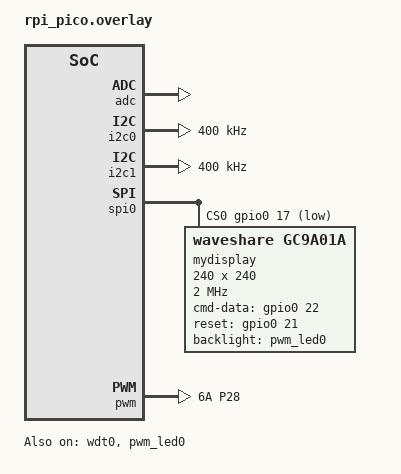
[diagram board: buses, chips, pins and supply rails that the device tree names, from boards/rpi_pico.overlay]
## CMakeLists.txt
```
# Copyright (c) 2021 Nordic Semiconductor ASA
# SPDX-License-Identifier: Apache-2.0

cmake_minimum_required(VERSION 3.20)

find_package(Zephyr REQUIRED HINTS $ENV{ZEPHYR_BASE})

project(app LANGUAGES C)

target_sources(app PRIVATE src/main.c)
```

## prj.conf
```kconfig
CONFIG_PRINTK=y
CONFIG_PWM=y
CONFIG_LOG=y
CONFIG_PWM_LOG_LEVEL_DBG=y

CONFIG_SPI=y
CONFIG_DISPLAY=y
CONFIG_DISPLAY_INIT_PRIORITY=85
CONFIG_PWM_RPI_PICO=y

CONFIG_HEAP_MEM_POOL_SIZE=16384
```

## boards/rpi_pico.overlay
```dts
#include <zephyr/dt-bindings/display/gc9a01a.h>

/ {	chosen{
		zephyr,display=&mydisplay;
	};
};


/* Pin control section */
&pinctrl {
	// I2C1 pinmux
	// SDA -> GPIO2
	// SCL -> GPIO3
	i2c1_alt: i2c1_alt {
		group1 {
			pinmux = <I2C1_SDA_P2>, <I2C1_SCL_P3>;
			input-enable;
			input-schmitt-enable;
		};
	};

	// SPI1 pinmux
	// RX  -> GPIO12
	// TX  -> GPIO15
	// CSn -> GPIO13 
	// SCK -> GPIO14
	/* spi1_alt: spi1_alt{
		group1 {
			pinmux = <SPI1_CSN_P13>, <SPI1_SCK_P14>, <SPI1_TX_P15>;
		};
		group2 {
			pinmux = <SPI1_RX_P12>;
			input-enable;
		};

	};*/

	// PWM for LCD backlight control.
	// GPIO 28 -> Slice 6 channel A (refer RP2040 datasheet).
	pwm_ch6a_lcd_display: pwm_ch6a_lcd_display {
		group1 {
			pinmux = <PWM_6A_P28>;
		};
	};
};

/* Enable the watchdog */
&wdt0 {
	status = "okay";
};

/* Disabling unused ADC. */
&adc {
	status="okay";
};

/* Setting clock frequency to FAST. */
&i2c0 {
	clock-frequency= <I2C_BITRATE_FAST>;
};

// Setting the alternative pin mapping for I2C1.
&i2c1{
	pinctrl-0=<&i2c1_alt>;
	clock-frequency = < I2C_BITRATE_FAST >;
};

/* Setting the GPIO17 as the CS pin on SPI - for the LCD display. */
&spi0 {
	cs-gpios = <&gpio0 17 GPIO_ACTIVE_LOW>;
	status = "okay";

	mydisplay: mydisplay@0 {
		compatible = "waveshare,gc9a01a";
		spi-max-frequency = <2000000>;
		reg = <0>;
		cmd-data-gpios = <&gpio0 22  GPIO_ACTIVE_HIGH>; 
		reset-gpios = <&gpio0 21 GPIO_ACTIVE_HIGH>;
		backlight-gpios = <&pwm_led0>;
		width = <240>;
		height = <240>;
		pixel-format = <GC9A01A_PIXEL_FORMAT_RGB565>;
		display-inversion;
		rotation = <180>;
		status = "okay";
	};
};


/* Setting the PWM. 
Challenging but easy once you understand.
Open and refer RP2040_pwm_pins.jpg or pg523 of the RP2040 datasheet, Table 278.
Step 1 : Create a pinctrl entry under &pinctrl.
Step 2 : Update the &pwm entry node.
Step 3 : Update the &pwm_led0 node.

Consider using GPIO 28 for PWM.
* Make a &pinctrl entry as seen in line 59-63 of this overlay file.
Note that it uses pinmux=<PWM_6A_28>. From the image we can see that
GPIO20 uses PWM channel 2A. (slice -> 2)

* Next, under &pwm node edit the pinctrl-0 to refer to the entry made 
in the previous step. The divider-frac-N and divider-int-N (change N 
to the value of slice)

* Finally under &pwm_led0 node edit the entry pwms. Each PWM channel is 
mapped to 2 GPIOS. GPIO 28 and GPIO 12 are mapped to PWM channel 6A(refer image).
so the corresponding entry should be

pwms=<&pwm channel frequency flags> => pwms=<&pwm 12 PWM_MSEC(20) PWM_NORMAL_POLARITY> 
where, 'channel' is (GPIO number) modulo 16.

Files to look out for when developing the rpi_pico.overlay file.

1. /zephyrproject/zephyr/include/zephyr/dt-bindings/pinctrl/rpi-pico-rp2040-pinctrl.h
2. /zephyrproject/zephyr/dts/arm/rpi_pico/rp2040.dtsi
3. /zephyrproject/zephyr/dts/arm/rpi_pico/rpi_pico_common.dtsi
4. /zephyrproject/zephyr/boards/arm/rpi_pico/rpi_pico-pinctrl.dtsi
5. /zephyrproject/zephyr/boards/arm/rpi_pico/rpi_pico.dts

*/

// &pwm {
// 	status = "okay";
// 	pinctrl-0 = <&pwm_ch4b_default>;
// 	divider-frac-4 = <255>;
// 	divider-int-4 = <255>;
// };

&pwm {
	status = "okay";
	pinctrl-0 = <&pwm_ch6a_lcd_display>;
	divider-frac-6 = <15>;
	divider-int-6 = <255>;
};

&pwm_led0 {
	status = "okay";
	pwms = <&pwm 12 PWM_MSEC(20) PWM_POLARITY_NORMAL>;
};

/* The final zephyr.dts device tree file can be found after compiling in
/build/zephyr/zephyr.dts */
```

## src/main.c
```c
/*
 * Copyright (c) 2019 Jan Van Winkel <jan.van_winkel@dxplore.eu>
 *
 * Based on ST7789V sample:
 * Copyright (c) 2019 Marc Reilly
 *
 * SPDX-License-Identifier: Apache-2.0
 */

#include <zephyr/logging/log.h>
LOG_MODULE_REGISTER(sample, LOG_LEVEL_INF);

#include <zephyr/kernel.h>
#include <zephyr/device.h>
#include <zephyr/drivers/display.h>

#include <hardware/watchdog.h>



#ifdef CONFIG_ARCH_POSIX
#include "posix_board_if.h"
#endif

#ifdef CONFIG_ARCH_POSIX
#define RETURN_FROM_MAIN(exit_code) posix_exit_main(exit_code)
#else
#define RETURN_FROM_MAIN(exit_code) return
#endif

enum corner {
	TOP_LEFT,
	TOP_RIGHT,
	BOTTOM_RIGHT,
	BOTTOM_LEFT
};

typedef void (*fill_buffer)(enum corner corner, uint8_t grey, uint8_t *buf,
			    size_t buf_size);


#ifdef CONFIG_ARCH_POSIX
static void posix_exit_main(int exit_code)
{
#if CONFIG_TEST
	if (exit_code == 0) {
		LOG_INF("PROJECT EXECUTION SUCCESSFUL");
	} else {
		LOG_INF("PROJECT EXECUTION FAILED");
	}
#endif
	posix_exit(exit_code);
}
#endif

static void fill_buffer_argb8888(enum corner corner, uint8_t grey, uint8_t *buf,
				 size_t buf_size)
{
	uint32_t color = 0;

	switch (corner) {
	case TOP_LEFT:
		color = 0x00FF0000u;
		break;
	case TOP_RIGHT:
		color = 0x0000FF00u;
		break;
	case BOTTOM_RIGHT:
		color = 0x000000FFu;
		break;
	case BOTTOM_LEFT:
		color = grey << 16 | grey << 8 | grey;
		break;
	}

	for (size_t idx = 0; idx < buf_size; idx += 4) {
		*((uint32_t *)(buf + idx)) = color;
	}
}

static void fill_buffer_rgb888(enum corner corner, uint8_t grey, uint8_t *buf,
			       size_t buf_size)
{
	uint32_t color = 0;

	switch (corner) {
	case TOP_LEFT:
		color = 0x00FF0000u;
		break;
	case TOP_RIGHT:
		color = 0x0000FF00u;
		break;
	case BOTTOM_RIGHT:
		color = 0x000000FFu;
		break;
	case BOTTOM_LEFT:
		color = grey << 16 | grey << 8 | grey;
		break;
	}

	for (size_t idx = 0; idx < buf_size; idx += 3) {
		*(buf + idx + 0) = color >> 16;
		*(buf + idx + 1) = color >> 8;
		*(buf + idx + 2) = color >> 0;
	}
}

static uint16_t get_rgb565_color(enum corner corner, uint8_t grey)
{
	uint16_t color = 0;
	uint16_t grey_5bit;

	switch (corner) {
	case TOP_LEFT:
		color = 0xF800u;
		break;
	case TOP_RIGHT:
		color = 0x07E0u;
		break;
	case BOTTOM_RIGHT:
		color = 0x001Fu;
		break;
	case BOTTOM_LEFT:
		grey_5bit = grey & 0x1Fu;
		/* shift the green an extra bit, it has 6 bits */
		color = grey_5bit << 11 | grey_5bit << (5 + 1) | grey_5bit;
		break;
	}
	return color;
}

static void fill_buffer_rgb565(enum corner corner, uint8_t grey, uint8_t *buf,
			       size_t buf_size)
{
	uint16_t color = get_rgb565_color(corner, grey);

	for (size_t idx = 0; idx < buf_size; idx += 2) {
		*(buf + idx + 0) = (color >> 8) & 0xFFu;
		*(buf + idx + 1) = (color >> 0) & 0xFFu;
	}
}

static void fill_buffer_bgr565(enum corner corner, uint8_t grey, uint8_t *buf,
			       size_t buf_size)
{
	uint16_t color = get_rgb565_color(corner, grey);

	for (size_t idx = 0; idx < buf_size; idx += 2) {
		*(uint16_t *)(buf + idx) = color;
	}
}

static void fill_buffer_mono(enum corner corner, uint8_t grey, uint8_t *buf,
			     size_t buf_size)
{
	uint16_t color;

	switch (corner) {
	case BOTTOM_LEFT:
		color = (grey & 0x01u) ? 0xFFu : 0x00u;
		break;
	default:
		color = 0;
		break;
	}

	memset(buf, color, buf_size);
}

void main(void)
{
	size_t x;
	size_t y;
	size_t rect_w;
	size_t rect_h;
	size_t h_step;
	size_t scale;
	size_t grey_count;
	uint8_t *buf;
	int32_t grey_scale_sleep;
	const struct device *display_dev;
	struct display_capabilities capabilities;
	struct display_buffer_descriptor buf_desc;
	size_t buf_size = 0;
	fill_buffer fill_buffer_fnc = NULL;

	watchdog_update();
	display_dev = DEVICE_DT_GET(DT_CHOSEN(zephyr_display));
	if (!device_is_ready(display_dev)) {
		LOG_ERR("Device %s not found. Aborting sample.",
			display_dev->name);
		RETURN_FROM_MAIN(1);
	}

	LOG_INF("Display sample for %s", display_dev->name);
	display_get_capabilities(display_dev, &capabilities);

	if (capabilities.screen_info & SCREEN_INFO_MONO_VTILED) {
		rect_w = 16;
		rect_h = 8;
	} else {
		rect_w = 2;
		rect_h = 1;
	}

	h_step = rect_h;
	scale = (capabilities.x_resolution / 8) / rect_h;

	rect_w *= scale;
	rect_h *= scale;

	if (capabilities.screen_info & SCREEN_INFO_EPD) {
		grey_scale_sleep = 10000;
	} else {
		grey_scale_sleep = 100;
	}

	buf_size = rect_w * rect_h;

	if (buf_size < (capabilities.x_resolution * h_step)) {
		buf_size = capabilities.x_resolution * h_step;
	}

	switch (capabilities.current_pixel_format) {
	case PIXEL_FORMAT_ARGB_8888:
		fill_buffer_fnc = fill_buffer_argb8888;
		buf_size *= 4;
		break;
	case PIXEL_FORMAT_RGB_888:
		fill_buffer_fnc = fill_buffer_rgb888;
		buf_size *= 3;
		break;
	case PIXEL_FORMAT_RGB_565:
		fill_buffer_fnc = fill_buffer_rgb565;
		buf_size *= 2;
		break;
	case PIXEL_FORMAT_BGR_565:
		fill_buffer_fnc = fill_buffer_bgr565;
		buf_size *= 2;
		break;
	case PIXEL_FORMAT_MONO01:
	case PIXEL_FORMAT_MONO10:
		fill_buffer_fnc = fill_buffer_mono;
		buf_size /= 8;
		break;
	default:
		LOG_ERR("Unsupported pixel format. Aborting sample.");
		RETURN_FROM_MAIN(1);
	}

	buf = k_malloc(buf_size);

	if (buf == NULL) {
		LOG_ERR("Could not allocate memory. Aborting sample.");
		RETURN_FROM_MAIN(1);
	}

	(void)memset(buf, 0xFFu, buf_size);

	buf_desc.buf_size = buf_size;
	buf_desc.pitch = capabilities.x_resolution;
	buf_desc.width = capabilities.x_resolution;
	buf_desc.height = h_step;

	for (int idx = 0; idx < capabilities.y_resolution; idx += h_step) {
		display_write(display_dev, 0, idx, &buf_desc, buf);
	}
	int ret=display_set_brightness(display_dev,255);
	if(ret){
		LOG_ERR("Brightness not set");
	}
	buf_desc.pitch = rect_w;
	buf_desc.width = rect_w;
	buf_desc.height = rect_h;

	fill_buffer_fnc(TOP_LEFT, 0, buf, buf_size);
	x = 0;
	y = 0;
	display_write(display_dev, x, y, &buf_desc, buf);

	fill_buffer_fnc(TOP_RIGHT, 0, buf, buf_size);
	x = capabilities.x_resolution - rect_w;
	y = 0;
	display_write(display_dev, x, y, &buf_desc, buf);

	fill_buffer_fnc(BOTTOM_RIGHT, 0, buf, buf_size);
	x = capabilities.x_resolution - rect_w;
	y = capabilities.y_resolution - rect_h;
	display_write(display_dev, x, y, &buf_desc, buf);

	display_blanking_off(display_dev);

	grey_count = 0;
	x = 0;
	y = capabilities.y_resolution - rect_h;

	while (1) {
		fill_buffer_fnc(BOTTOM_LEFT, grey_count, buf, buf_size);
		display_write(display_dev, x, y, &buf_desc, buf);
		++grey_count;
		k_msleep(grey_scale_sleep);
#if CONFIG_TEST
		if (grey_count >= 1024) {
			break;
		}
#endif
	}

	RETURN_FROM_MAIN(0);
}
```
